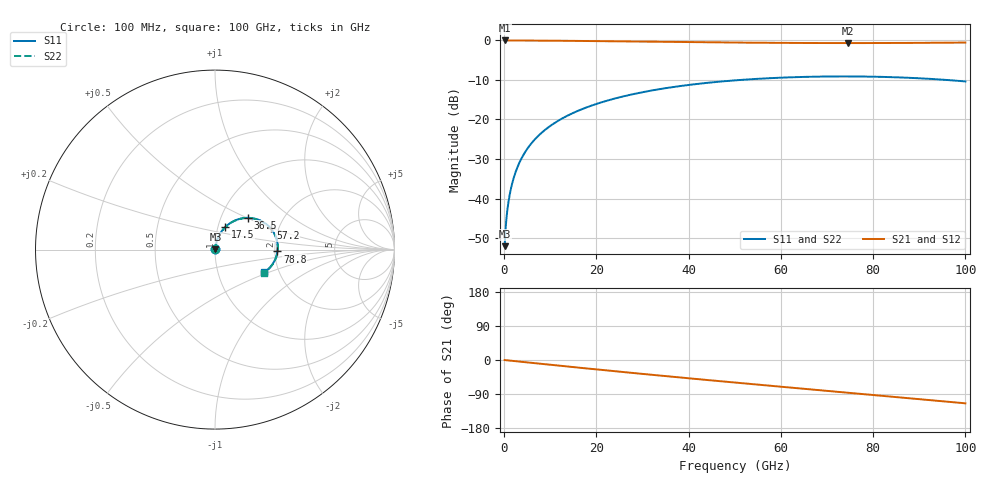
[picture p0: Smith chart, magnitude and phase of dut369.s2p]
! Touchstone file exported from HFSS 2026.1.0
!  File:  C:/ffzhzh/LocalFiles/Ansys_Project_Files/temp_train_RDL_369_1783503533_41296.aedt
!  Generated:  05:40:06 PM Jul  8, 2026
!  Design:  RDL
!  Project:  temp_train_RDL_369_1783503533_41296
! Variables:
!  h_bsmrdl = 2um
!  h_ox = 20um
!  h_rdl = 5um
!  h_sub = 80um
!  h_tmrdl = 2.4um
!  h_tsv = 80um
!  h_via = 3um
!  l_bsmrdl = 300um
!  l_sub = 778.99um
!  l_tmrdl = 378.99um
!  m_sub = 200um
!  pitch = 43.48um
!  r_tsv = 6um
!  s_tmrdl = 10um
!  w_bsmrdl = 18um
!  w_sub = 500um
!  w_tmrdl = 29.82um
!  x_tsv_center1 = 393.9um
!  x_tsv_center2 = 711.9um
!  x_tsv_center3 = 1120.71um
!  x_tsv_center4 = 1438.71um
!  x_tsv_center5 = 1847.52um
!  x_tsv_center6 = 2165.52um
# GHz S MA R 50.000000
! Terminal data exported
! Port[1] = TM_RDL1_1_T1
! Port[2] = TM_RDL1_1_T2
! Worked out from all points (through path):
!   1000 points, 100 MHz to 100 GHz, reference 50 ohm
!   highest |S21| = -0.02 dB at 100 MHz (marker M1); lowest = -0.7 dB at 74.6 GHz (marker M2)
!   group delay of S21, straight-line fit = 3.14 ps
!   lowest |S11| = -52.1 dB at 100 MHz (marker M3), VSWR 1.01, Z = 50.2 + j0.109 ohm
!   |S11| at or under -10 dB: start of sweep to 51.33 GHz; 95.85 GHz to end of sweep
!   |S22| runs from -52.1 to -9.1 dB; largest |S21 - S12| = 1.6e-14
!   S11 on the Smith chart (normalised r, x): 100 MHz: 1.00, +0.00; 17.5 GHz: 1.09, +0.28; 36.5 GHz: 1.34, +0.51; 57.2 GHz: 1.81, +0.49; 78.8 GHz: 2.07, -0.05; 100 GHz: 1.68, -0.46
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0.1  0.002495 25.8  0.9978 -0.1  0.9978 -0.1  0.002495 25.8
! Gamma 0 0 0 0
! Port Impedance 50 0 50 0
0.4  0.004819 55.5  0.9973 -0.5  0.9973 -0.5  0.004819 55.5
0.9  0.008752 67.7  0.9968 -1.2  0.9968 -1.2  0.008752 67.7
1.3  0.01192 72.2  0.9966 -1.7  0.9966 -1.7  0.01192 72.2
1.7  0.01516 74.8  0.9965 -2.2  0.9965 -2.2  0.01516 74.8
2.9  0.02503 77.9  0.996 -3.7  0.996 -3.7  0.02503 77.9
4.4  0.03744 78.4  0.9954 -5.6  0.9954 -5.6  0.03744 78.4
6.6  0.0555 77.1  0.994 -8.3  0.994 -8.3  0.0555 77.0
9.3  0.07726 74.5  0.9918 -11.7  0.9918 -11.7  0.07726 74.4
12.7  0.1038 70.7  0.9884 -15.9  0.9884 -15.9  0.1038 70.6
16.8  0.1343 66.0  0.9836 -20.9  0.9836 -20.9  0.1343 65.9
17.5  0.1394 65.2  0.9827 -21.8  0.9827 -21.8  0.1394 65.1
24.7  0.1885 57.0  0.9731 -30.4  0.9731 -30.4  0.1885 56.8
33.4  0.2401 47.2  0.9606 -40.7  0.9606 -40.7  0.2401 46.9
36.5  0.2563 43.7  0.9561 -44.2  0.9561 -44.2  0.2562 43.4
50.1  0.3124 28.8  0.9386 -59.6  0.9386 -59.6  0.3123 28.4
57.2  0.3318 21.2  0.9317 -67.4  0.9317 -67.4  0.3317 20.7
66.7  0.3469 11.1  0.9259 -77.8  0.9259 -77.8  0.3469 10.6
74.6  0.3501 2.7  0.9244 -86.3  0.9244 -86.3  0.35 2.1
78.8  0.3483 -1.7  0.9248 -90.9  0.9248 -90.9  0.3482 -2.3
83.4  0.3436 -6.6  0.9262 -95.9  0.9262 -95.9  0.3435 -7.3
100  0.3025 -24.4  0.9387 -114.3  0.9387 -114.3  0.3023 -25.2
